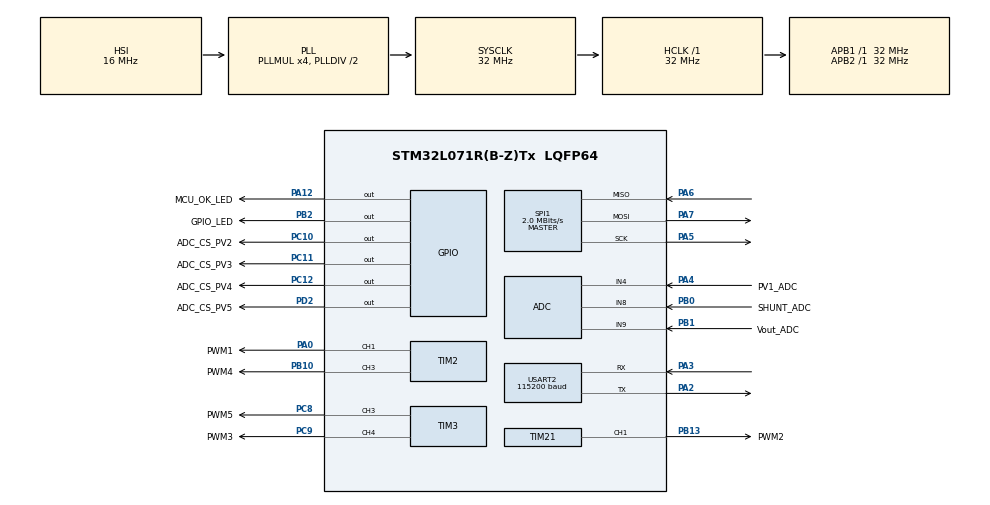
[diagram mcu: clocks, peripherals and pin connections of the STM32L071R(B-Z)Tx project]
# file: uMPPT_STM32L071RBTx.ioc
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ADC.ClockPrescaler=ADC_CLOCK_SYNC_PCLK_DIV4
ADC.ContinuousConvMode=DISABLE
ADC.DiscontinuousConvMode=DISABLE
ADC.EOCSelection=ADC_EOC_SEQ_CONV
ADC.LowPowerAutoPowerOff=DISABLE
ADC.LowPowerAutoWait=DISABLE
ADC.SamplingTime=ADC_SAMPLETIME_39CYCLES_5
ADC.ScanConvMode=ADC_SCAN_DIRECTION_FORWARD
Dma.Request0=USART2_RX
Dma.USART2_RX.0.Direction=DMA_PERIPH_TO_MEMORY
Dma.USART2_RX.0.Instance=DMA1_Channel6
Dma.USART2_RX.0.MemDataAlignment=DMA_MDATAALIGN_BYTE
Dma.USART2_RX.0.MemInc=DMA_MINC_ENABLE
Dma.USART2_RX.0.Mode=DMA_NORMAL
Dma.USART2_RX.0.PeriphDataAlignment=DMA_PDATAALIGN_BYTE
Dma.USART2_RX.0.PeriphInc=DMA_PINC_DISABLE
Dma.USART2_RX.0.Priority=DMA_PRIORITY_LOW
Mcu.Family=STM32L0
Mcu.Name=STM32L071R(B-Z)Tx
Mcu.Package=LQFP64
NVIC.DMA1_Channel4_5_6_7_IRQn=true\:0\:0\:false\:false\:true\:false\:true\:true
NVIC.TIM6_IRQn=true\:0\:0\:false\:false\:true\:true\:true\:true
NVIC.USART2_IRQn=true\:0\:0\:false\:false\:true\:true\:true\:true
PA0.GPIO_Label=PWM1
PA0.GPIO_PuPd=GPIO_PULLDOWN
PA0.Signal=S_TIM2_CH1
PA12.GPIO_Label=MCU_OK_LED
PA12.Signal=GPIO_Output
PA13.Mode=Serial_Wire
PA13.Signal=SYS_SWDIO
PA14.Mode=Serial_Wire
PA14.Signal=SYS_SWCLK
PA2.Mode=Asynchronous
PA2.Signal=USART2_TX
PA3.Mode=Asynchronous
PA3.Signal=USART2_RX
PA4.GPIO_Label=PV1_ADC
PA4.Mode=IN4
PA4.Signal=ADC_IN4
PA5.Mode=Full_Duplex_Master
PA5.Signal=SPI1_SCK
PA6.Mode=Full_Duplex_Master
PA6.Signal=SPI1_MISO
PA7.Mode=Full_Duplex_Master
PA7.Signal=SPI1_MOSI
PB0.GPIO_Label=SHUNT_ADC
PB0.Mode=IN8
PB0.Signal=ADC_IN8
PB1.GPIO_Label=Vout_ADC
PB1.Mode=IN9
PB1.Signal=ADC_IN9
PB10.GPIO_Label=PWM4
PB10.GPIO_PuPd=GPIO_PULLDOWN
PB10.Signal=S_TIM2_CH3
PB13.GPIO_Label=PWM2
PB13.GPIO_PuPd=GPIO_PULLDOWN
PB13.Signal=S_TIM21_CH1
PB2.GPIO_Label=GPIO_LED
PB2.Signal=GPIO_Output
PC10.GPIO_Label=ADC_CS_PV2
PC10.Signal=GPIO_Output
PC11.GPIO_Label=ADC_CS_PV3
PC11.Signal=GPIO_Output
PC12.GPIO_Label=ADC_CS_PV4
PC12.Signal=GPIO_Output
PC8.GPIO_Label=PWM5
PC8.GPIO_PuPd=GPIO_PULLDOWN
PC8.Signal=S_TIM3_CH3
PC9.GPIO_Label=PWM3
PC9.GPIO_PuPd=GPIO_PULLDOWN
PC9.Signal=S_TIM3_CH4
PD2.GPIO_Label=ADC_CS_PV5
PD2.Signal=GPIO_Output
PH0-OSC_IN.Mode=HSE-External-Oscillator
PH0-OSC_IN.Signal=RCC_OSC_IN
PH1-OSC_OUT.Mode=HSE-External-Oscillator
PH1-OSC_OUT.Signal=RCC_OSC_OUT
ProjectManager.HeapSize=0x200
ProjectManager.StackSize=0x400
ProjectManager.TargetToolchain=STM32CubeIDE
RCC.AHBFreq_Value=32000000
RCC.APB1Freq_Value=32000000
RCC.APB1TimFreq_Value=32000000
RCC.APB2Freq_Value=32000000
RCC.APB2TimFreq_Value=32000000
RCC.HCLKFreq_Value=32000000
RCC.HSE_VALUE=8000000
RCC.HSI16_VALUE=16000000
RCC.HSI_VALUE=16000000
RCC.LSE_VALUE=32768
RCC.MSIClockRange=RCC_MSIRANGE_6
RCC.MSI_VALUE=4194000
RCC.PLLMUL=RCC_PLLMUL_4
RCC.SYSCLKFreq_VALUE=32000000
RCC.SYSCLKSource=RCC_SYSCLKSOURCE_PLLCLK
RCC.VCOOutputFreq_Value=64000000
SH.S_TIM21_CH1.0=TIM21_CH1,PWM Generation1 CH1
SH.S_TIM2_CH1.0=TIM2_CH1,PWM Generation1 CH1
SH.S_TIM2_CH3.0=TIM2_CH3,PWM Generation3 CH3
SH.S_TIM3_CH3.0=TIM3_CH3,PWM Generation3 CH3
SH.S_TIM3_CH4.0=TIM3_CH4,PWM Generation4 CH4
SPI1.BaudRatePrescaler=SPI_BAUDRATEPRESCALER_16
SPI1.CLKPolarity=SPI_POLARITY_HIGH
SPI1.CalculateBaudRate=2.0 MBits/s
SPI1.DataSize=SPI_DATASIZE_16BIT
SPI1.Direction=SPI_DIRECTION_2LINES
SPI1.Mode=SPI_MODE_MASTER
SPI1.VirtualType=VM_MASTER
TIM2.Channel-PWM\ Generation1\ CH1=TIM_CHANNEL_1
TIM2.Channel-PWM\ Generation3\ CH3=TIM_CHANNEL_3
TIM2.OCPolarity_1=TIM_OCPOLARITY_HIGH
TIM2.OCPolarity_3=TIM_OCPOLARITY_HIGH
TIM2.Pulse-PWM\ Generation1\ CH1=10000
TIM2.Pulse-PWM\ Generation3\ CH3=50000
TIM21.Channel-PWM\ Generation1\ CH1=TIM_CHANNEL_1
TIM21.OCPolarity_1=TIM_OCPOLARITY_HIGH
TIM21.Pulse-PWM\ Generation1\ CH1=26793
TIM3.Channel-PWM\ Generation3\ CH3=TIM_CHANNEL_3
TIM3.Channel-PWM\ Generation4\ CH4=TIM_CHANNEL_4
TIM3.OCPolarity_3=TIM_OCPOLARITY_HIGH
TIM3.OCPolarity_4=TIM_OCPOLARITY_HIGH
TIM3.Pulse-PWM\ Generation3\ CH3=20000
TIM3.Pulse-PWM\ Generation4\ CH4=40000
TIM6.AutoReloadPreload=TIM_AUTORELOAD_PRELOAD_DISABLE
TIM6.Period=999
TIM6.Prescaler=15999
USART2.BaudRate=115200
USART2.VirtualMode-Asynchronous=VM_ASYNC
VP_TIM2_VS_ClockSourceINT.Mode=Internal
VP_TIM3_VS_ClockSourceINT.Mode=Internal
VP_TIM6_VS_ClockSourceINT.Mode=Enable_Timer
board=custom

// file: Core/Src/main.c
/* USER CODE BEGIN Header */
/**
  ******************************************************************************
  * @file           : main.c
  * @brief          : Main program body
  ******************************************************************************
  * @attention
  *
  * <h2><center>&copy; Copyright (c) 2022 STMicroelectronics.
  * All rights reserved.</center></h2>
  *
  * This software component is licensed by ST under BSD 3-Clause license,
  * the "License"; You may not use this file except in compliance with the
  * License. You may obtain a copy of the License at:
  *                        opensource.org/licenses/BSD-3-Clause
  *
  ******************************************************************************
  */
/* USER CODE END Header */
#include "main.h"

/* USER CODE BEGIN Includes */
#include "uMPPT_STM32L071RBTx.h"
/* USER CODE END Includes */

 ADC_HandleTypeDef hadc;

SPI_HandleTypeDef hspi1;

TIM_HandleTypeDef htim2;
TIM_HandleTypeDef htim3;
TIM_HandleTypeDef htim6;
TIM_HandleTypeDef htim21;

UART_HandleTypeDef huart2;
DMA_HandleTypeDef hdma_usart2_rx;

/* USER CODE BEGIN PV */

//----- VARIABLE INIT -----//
//--- ADC VARIABLES ---//
ADC_ChannelConfTypeDef sConfig_ADC;
uint32_t ADC_CH_list[3] = {ADC_CHANNEL_4, ADC_CHANNEL_9, ADC_CHANNEL_8}; //ADC CH of CH1, output voltage and current

//--- PWM VARIABLES ---//
uint32_t PWM_CHANNEL_list[5] = {TIM_CHANNEL_1, TIM_CHANNEL_1, TIM_CHANNEL_4, TIM_CHANNEL_3, TIM_CHANNEL_3};
TIM_HandleTypeDef *PWM_TIM_list[5] = {&htim2, &htim21, &htim3, &htim2, &htim3};

//--- UART VARIABLES ---//
char UART2_rxBuffer[16] = {0};

//Commands set for dev program
char DSBL[6] = "DSBL::";
char NFRE[6] = "NFRE::";
char RFRE[6] = "RFRE::";
char NDUT[6] = "NDUT::";
char RDUT[6] = "RDUT::";
char NPHA[6] = "NPHA::";
char VINP[6] = "VINP::";
char VOUT[6] = "VOUT::";
char IOUT[6] = "IOUT::";
char IINP[6] = "IINP::";
char MPPV[6] = "MPPV::";
char MPPI[6] = "MPPI::";

char uMPPT_ID[1] = {0};
char command[6] = {0};
char value[7] = {0};
char message[16] = {0};
char uMPPT_ID_char[1] = {0};
char ADC_value[7] = {0};

//--- EN PINS VARIABLES ---//
uint32_t CS_Pins_list[4] = {ADC_CS_PV2_Pin, ADC_CS_PV3_Pin,  ADC_CS_PV4_Pin,ADC_CS_PV5_Pin};
GPIO_TypeDef *CS_Ports_list[4] = {GPIOC, GPIOC, GPIOC, GPIOD};

//--- OTHER VARIABLES ---//
uint16_t MCU_OK_LED_PERIOD = 1000; //Blink period of the MCU_OK_LED (ms)
uint16_t MCU_OK_LED_ON_DURATION = 50; //Duration of the ON state of the MCU_OK_LED (ms)

struct uMPPT uMPPT_1;
struct uMPPT uMPPT_2;
struct uMPPT uMPPT_3;
struct uMPPT uMPPT_4;
struct uMPPT uMPPT_5;

struct uMPPT* uMPPT_list[5] = {&uMPPT_1, &uMPPT_2, &uMPPT_3, &uMPPT_4, &uMPPT_5};
struct board_param board;

/* USER CODE END PV */

void SystemClock_Config(void);
static void MX_GPIO_Init(void);
static void MX_ADC_Init(void);
static void MX_TIM2_Init(void);
static void MX_TIM3_Init(void);
static void MX_TIM21_Init(void);
static void MX_DMA_Init(void);
static void MX_TIM6_Init(void);
static void MX_USART2_UART_Init(void);
static void MX_SPI1_Init(void);

int main(void)
{

  /* MCU Configuration--------------------------------------------------------*/

  /* Reset of all peripherals, Initializes the Flash interface and the Systick. */
  HAL_Init();

  /* Configure the system clock */
  SystemClock_Config();

  /* Initialize all configured peripherals */
  MX_GPIO_Init();
  MX_ADC_Init();
  MX_TIM2_Init();
  MX_TIM3_Init();
  MX_TIM21_Init();
  MX_DMA_Init();
  MX_TIM6_Init();
  MX_USART2_UART_Init();
  MX_SPI1_Init();
  /* USER CODE BEGIN 2 */

  //Configure uMPPT

  board.CS_Pins = CS_Pins_list;
  board.CS_Ports = CS_Ports_list;
  board.MCU_OK_LED_TIM = &htim6;
  board.PWM_CHANNEL = PWM_CHANNEL_list;
  board.PWM_TIM = PWM_TIM_list;
  board.uMPPT_list = uMPPT_list;
  board.MCU_OK_LED_ON_Duration = 100;
  board.MCU_OK_LED_Period = 1000;
  board.ADC_CH = ADC_CH_list;
  board.ADC_config = &sConfig_ADC;
  board.hadc_handle = &hadc;
  board.huart_handle = &huart2;
  board.hspi_handle = &hspi1;

  config_uMPPT(&board);

//  //Enable LTC7060 gate drivers
//  uint16_t EN_reg_1 = 0;
//  uint16_t EN_reg_2 = 0;
//  for (int i = 0; i < NUM_UMPPT; i++){
//	if (i < 2){	EN_reg_1 |= board.EN_Pins[i];	}
//	else {	EN_reg_2 |= board.EN_Pins[i];	}
//  }
//  GPIOA->BSRR |= EN1_Pin | EN2_Pin;
//  GPIOB->BSRR = EN_reg_2;

  //UART (for dev program)
  //HAL_UART_Receive_DMA(&huart2, (uint8_t*) UART2_rxBuffer, 16);
  /* USER CODE END 2 */

  /* Infinite loop */
  /* USER CODE BEGIN WHILE */

	while (1){
	//	for (int i = 0; i < NUM_UMPPT; i++){
	//		update_MPP_HillClimb(&board, board.uMPPT_list[i]);
	//	}
	//	float raw_ADC;
		//char print_str[50];

	//	for (int i = 0; i < NUM_AVG_CURRENT; i++){
	//		raw_ADC += uMPPT_read_ADC(ADC_CH_list[6], &board); //Measure output current
	//	}

	//	raw_ADC /= NUM_AVG_CURRENT;
	//	raw_ADC = (((raw_ADC / 4095.0) * VDDA) - I_MEAS_OFFSET) / I_SENSE_AMP_RATIO / I_SHUNT_VALUE;
	//	sprintf(print_str, "Output current: %fA\n", raw_ADC);
	//	HAL_UART_Transmit(board.huart_handle, (uint8_t *) print_str, strlen(print_str), 10);

		//float adc_test = SPI_readADC(0, &board);
		//HAL_Delay(100);
		float adc_test2 = SPI_readADC(1, &board);
		HAL_Delay(100);
		//float adc_test3 = SPI_readADC(2, &board);
		//HAL_Delay(100);
		//sprintf(print_str, "Test Reading: %f\n", adc_test);
		//HAL_UART_Transmit(board.huart_handle, (uint8_t *) print_str, sizeof(print_str), 10);

		//HAL_Delay(DELAY_BT_MPPT/2);

    /* USER CODE END WHILE */

	  }
}

void SystemClock_Config(void)
{
  RCC_OscInitTypeDef RCC_OscInitStruct = {0};
  RCC_ClkInitTypeDef RCC_ClkInitStruct = {0};
  RCC_PeriphCLKInitTypeDef PeriphClkInit = {0};

  /** Configure the main internal regulator output voltage
  */
  __HAL_PWR_VOLTAGESCALING_CONFIG(PWR_REGULATOR_VOLTAGE_SCALE1);

  /** Initializes the RCC Oscillators according to the specified parameters
  * in the RCC_OscInitTypeDef structure.
  */
  RCC_OscInitStruct.OscillatorType = RCC_OSCILLATORTYPE_HSI;
  RCC_OscInitStruct.HSIState = RCC_HSI_ON;
  RCC_OscInitStruct.HSICalibrationValue = RCC_HSICALIBRATION_DEFAULT;
  RCC_OscInitStruct.PLL.PLLState = RCC_PLL_ON;
  RCC_OscInitStruct.PLL.PLLSource = RCC_PLLSOURCE_HSI;
  RCC_OscInitStruct.PLL.PLLMUL = RCC_PLLMUL_4;
  RCC_OscInitStruct.PLL.PLLDIV = RCC_PLLDIV_2;
  if (HAL_RCC_OscConfig(&RCC_OscInitStruct) != HAL_OK)
  {
    Error_Handler();
  }

  /** Initializes the CPU, AHB and APB buses clocks
  */
  RCC_ClkInitStruct.ClockType = RCC_CLOCKTYPE_HCLK|RCC_CLOCKTYPE_SYSCLK
                              |RCC_CLOCKTYPE_PCLK1|RCC_CLOCKTYPE_PCLK2;
  RCC_ClkInitStruct.SYSCLKSource = RCC_SYSCLKSOURCE_PLLCLK;
  RCC_ClkInitStruct.AHBCLKDivider = RCC_SYSCLK_DIV1;
  RCC_ClkInitStruct.APB1CLKDivider = RCC_HCLK_DIV1;
  RCC_ClkInitStruct.APB2CLKDivider = RCC_HCLK_DIV1;

  if (HAL_RCC_ClockConfig(&RCC_ClkInitStruct, FLASH_LATENCY_1) != HAL_OK)
  {
    Error_Handler();
  }
  PeriphClkInit.PeriphClockSelection = RCC_PERIPHCLK_USART2;
  PeriphClkInit.Usart2ClockSelection = RCC_USART2CLKSOURCE_PCLK1;
  if (HAL_RCCEx_PeriphCLKConfig(&PeriphClkInit) != HAL_OK)
  {
    Error_Handler();
  }
}

static void MX_ADC_Init(void)
{

  ADC_ChannelConfTypeDef sConfig = {0};

  /** Configure the global features of the ADC (Clock, Resolution, Data Alignment and number of conversion)
  */
  hadc.Instance = ADC1;
  hadc.Init.OversamplingMode = DISABLE;
  hadc.Init.ClockPrescaler = ADC_CLOCK_SYNC_PCLK_DIV4;
  hadc.Init.Resolution = ADC_RESOLUTION_12B;
  hadc.Init.SamplingTime = ADC_SAMPLETIME_39CYCLES_5;
  hadc.Init.ScanConvMode = ADC_SCAN_DIRECTION_FORWARD;
  hadc.Init.DataAlign = ADC_DATAALIGN_RIGHT;
  hadc.Init.ContinuousConvMode = DISABLE;
  hadc.Init.DiscontinuousConvMode = DISABLE;
  hadc.Init.ExternalTrigConvEdge = ADC_EXTERNALTRIGCONVEDGE_NONE;
  hadc.Init.ExternalTrigConv = ADC_SOFTWARE_START;
  hadc.Init.DMAContinuousRequests = DISABLE;
  hadc.Init.EOCSelection = ADC_EOC_SEQ_CONV;
  hadc.Init.Overrun = ADC_OVR_DATA_PRESERVED;
  hadc.Init.LowPowerAutoWait = DISABLE;
  hadc.Init.LowPowerFrequencyMode = DISABLE;
  hadc.Init.LowPowerAutoPowerOff = DISABLE;
  if (HAL_ADC_Init(&hadc) != HAL_OK)
  {
    Error_Handler();
  }

  /** Configure for the selected ADC regular channel to be converted.
  */
  sConfig.Channel = ADC_CHANNEL_4;
  sConfig.Rank = ADC_RANK_CHANNEL_NUMBER;
  if (HAL_ADC_ConfigChannel(&hadc, &sConfig) != HAL_OK)
  {
    Error_Handler();
  }

  /** Configure for the selected ADC regular channel to be converted.
  */
  sConfig.Channel = ADC_CHANNEL_8;
  if (HAL_ADC_ConfigChannel(&hadc, &sConfig) != HAL_OK)
  {
    Error_Handler();
  }

  /** Configure for the selected ADC regular channel to be converted.
  */
  sConfig.Channel = ADC_CHANNEL_9;
  if (HAL_ADC_ConfigChannel(&hadc, &sConfig) != HAL_OK)
  {
    Error_Handler();
  }

}

static void MX_SPI1_Init(void)
{

  /* SPI1 parameter configuration*/
  hspi1.Instance = SPI1;
  hspi1.Init.Mode = SPI_MODE_MASTER;
  hspi1.Init.Direction = SPI_DIRECTION_2LINES;
  hspi1.Init.DataSize = SPI_DATASIZE_16BIT;
  hspi1.Init.CLKPolarity = SPI_POLARITY_HIGH;
  hspi1.Init.CLKPhase = SPI_PHASE_1EDGE;
  hspi1.Init.NSS = SPI_NSS_SOFT;
  hspi1.Init.BaudRatePrescaler = SPI_BAUDRATEPRESCALER_16;
  hspi1.Init.FirstBit = SPI_FIRSTBIT_MSB;
  hspi1.Init.TIMode = SPI_TIMODE_DISABLE;
  hspi1.Init.CRCCalculation = SPI_CRCCALCULATION_DISABLE;
  hspi1.Init.CRCPolynomial = 7;
  if (HAL_SPI_Init(&hspi1) != HAL_OK)
  {
    Error_Handler();
  }

}

static void MX_TIM2_Init(void)
{

  TIM_ClockConfigTypeDef sClockSourceConfig = {0};
  TIM_MasterConfigTypeDef sMasterConfig = {0};
  TIM_OC_InitTypeDef sConfigOC = {0};

  htim2.Instance = TIM2;
  htim2.Init.Prescaler = 0;
  htim2.Init.CounterMode = TIM_COUNTERMODE_UP;
  htim2.Init.Period = 65535;
  htim2.Init.ClockDivision = TIM_CLOCKDIVISION_DIV1;
  htim2.Init.AutoReloadPreload = TIM_AUTORELOAD_PRELOAD_DISABLE;
  if (HAL_TIM_Base_Init(&htim2) != HAL_OK)
  {
    Error_Handler();
  }
  sClockSourceConfig.ClockSource = TIM_CLOCKSOURCE_INTERNAL;
  if (HAL_TIM_ConfigClockSource(&htim2, &sClockSourceConfig) != HAL_OK)
  {
    Error_Handler();
  }
  if (HAL_TIM_PWM_Init(&htim2) != HAL_OK)
  {
    Error_Handler();
  }
  sMasterConfig.MasterOutputTrigger = TIM_TRGO_RESET;
  sMasterConfig.MasterSlaveMode = TIM_MASTERSLAVEMODE_DISABLE;
  if (HAL_TIMEx_MasterConfigSynchronization(&htim2, &sMasterConfig) != HAL_OK)
  {
    Error_Handler();
  }
  sConfigOC.OCMode = TIM_OCMODE_PWM1;
  sConfigOC.Pulse = 10000;
  sConfigOC.OCPolarity = TIM_OCPOLARITY_HIGH;
  sConfigOC.OCFastMode = TIM_OCFAST_DISABLE;
  if (HAL_TIM_PWM_ConfigChannel(&htim2, &sConfigOC, TIM_CHANNEL_1) != HAL_OK)
  {
    Error_Handler();
  }
  sConfigOC.Pulse = 50000;
  if (HAL_TIM_PWM_ConfigChannel(&htim2, &sConfigOC, TIM_CHANNEL_3) != HAL_OK)
  {
    Error_Handler();
  }
  HAL_TIM_MspPostInit(&htim2);

}

static void MX_TIM3_Init(void)
{

  TIM_ClockConfigTypeDef sClockSourceConfig = {0};
  TIM_MasterConfigTypeDef sMasterConfig = {0};
  TIM_OC_InitTypeDef sConfigOC = {0};

  htim3.Instance = TIM3;
  htim3.Init.Prescaler = 0;
  htim3.Init.CounterMode = TIM_COUNTERMODE_UP;
  htim3.Init.Period = 65535;
  htim3.Init.ClockDivision = TIM_CLOCKDIVISION_DIV1;
  htim3.Init.AutoReloadPreload = TIM_AUTORELOAD_PRELOAD_DISABLE;
  if (HAL_TIM_Base_Init(&htim3) != HAL_OK)
  {
    Error_Handler();
  }
  sClockSourceConfig.ClockSource = TIM_CLOCKSOURCE_INTERNAL;
  if (HAL_TIM_ConfigClockSource(&htim3, &sClockSourceConfig) != HAL_OK)
  {
    Error_Handler();
  }
  if (HAL_TIM_PWM_Init(&htim3) != HAL_OK)
  {
    Error_Handler();
  }
  sMasterConfig.MasterOutputTrigger = TIM_TRGO_RESET;
  sMasterConfig.MasterSlaveMode = TIM_MASTERSLAVEMODE_DISABLE;
  if (HAL_TIMEx_MasterConfigSynchronization(&htim3, &sMasterConfig) != HAL_OK)
  {
    Error_Handler();
  }
  sConfigOC.OCMode = TIM_OCMODE_PWM1;
  sConfigOC.Pulse = 20000;
  sConfigOC.OCPolarity = TIM_OCPOLARITY_HIGH;
  sConfigOC.OCFastMode = TIM_OCFAST_DISABLE;
  if (HAL_TIM_PWM_ConfigChannel(&htim3, &sConfigOC, TIM_CHANNEL_3) != HAL_OK)
  {
    Error_Handler();
  }
  sConfigOC.Pulse = 40000;
  if (HAL_TIM_PWM_ConfigChannel(&htim3, &sConfigOC, TIM_CHANNEL_4) != HAL_OK)
  {
    Error_Handler();
  }
  if (HAL_TIMEx_RemapConfig(&htim3, TIM3_TI4_GPIOC9_AF2) != HAL_OK)
  {
    Error_Handler();
  }
  HAL_TIM_MspPostInit(&htim3);

}

static void MX_TIM6_Init(void)
{

  TIM_MasterConfigTypeDef sMasterConfig = {0};

  htim6.Instance = TIM6;
  htim6.Init.Prescaler = 15999;
  htim6.Init.CounterMode = TIM_COUNTERMODE_UP;
  htim6.Init.Period = 999;
  htim6.Init.AutoReloadPreload = TIM_AUTORELOAD_PRELOAD_DISABLE;
  if (HAL_TIM_Base_Init(&htim6) != HAL_OK)
  {
    Error_Handler();
  }
  sMasterConfig.MasterOutputTrigger = TIM_TRGO_RESET;
  sMasterConfig.MasterSlaveMode = TIM_MASTERSLAVEMODE_DISABLE;
  if (HAL_TIMEx_MasterConfigSynchronization(&htim6, &sMasterConfig) != HAL_OK)
  {
    Error_Handler();
  }

}

static void MX_TIM21_Init(void)
{

  TIM_MasterConfigTypeDef sMasterConfig = {0};
  TIM_OC_InitTypeDef sConfigOC = {0};

  htim21.Instance = TIM21;
  htim21.Init.Prescaler = 0;
  htim21.Init.CounterMode = TIM_COUNTERMODE_UP;
  htim21.Init.Period = 65535;
  htim21.Init.ClockDivision = TIM_CLOCKDIVISION_DIV1;
  htim21.Init.AutoReloadPreload = TIM_AUTORELOAD_PRELOAD_DISABLE;
  if (HAL_TIM_PWM_Init(&htim21) != HAL_OK)
  {
    Error_Handler();
  }
  sMasterConfig.MasterOutputTrigger = TIM_TRGO_RESET;
  sMasterConfig.MasterSlaveMode = TIM_MASTERSLAVEMODE_DISABLE;
  if (HAL_TIMEx_MasterConfigSynchronization(&htim21, &sMasterConfig) != HAL_OK)
  {
    Error_Handler();
  }
  sConfigOC.OCMode = TIM_OCMODE_PWM1;
  sConfigOC.Pulse = 26793;
  sConfigOC.OCPolarity = TIM_OCPOLARITY_HIGH;
  sConfigOC.OCFastMode = TIM_OCFAST_DISABLE;
  if (HAL_TIM_PWM_ConfigChannel(&htim21, &sConfigOC, TIM_CHANNEL_1) != HAL_OK)
  {
    Error_Handler();
  }
  HAL_TIM_MspPostInit(&htim21);

}

static void MX_USART2_UART_Init(void)
{

  huart2.Instance = USART2;
  huart2.Init.BaudRate = 115200;
  huart2.Init.WordLength = UART_WORDLENGTH_8B;
  huart2.Init.StopBits = UART_STOPBITS_1;
  huart2.Init.Parity = UART_PARITY_NONE;
  huart2.Init.Mode = UART_MODE_TX_RX;
  huart2.Init.HwFlowCtl = UART_HWCONTROL_NONE;
  huart2.Init.OverSampling = UART_OVERSAMPLING_16;
  huart2.Init.OneBitSampling = UART_ONE_BIT_SAMPLE_DISABLE;
  huart2.AdvancedInit.AdvFeatureInit = UART_ADVFEATURE_NO_INIT;
  if (HAL_UART_Init(&huart2) != HAL_OK)
  {
    Error_Handler();
  }

}

static void MX_DMA_Init(void)
{

  /* DMA controller clock enable */
  __HAL_RCC_DMA1_CLK_ENABLE();

  /* DMA interrupt init */
  /* DMA1_Channel4_5_6_7_IRQn interrupt configuration */
  HAL_NVIC_SetPriority(DMA1_Channel4_5_6_7_IRQn, 0, 0);
  HAL_NVIC_EnableIRQ(DMA1_Channel4_5_6_7_IRQn);

}

static void MX_GPIO_Init(void)
{
  GPIO_InitTypeDef GPIO_InitStruct = {0};

  /* GPIO Ports Clock Enable */
  __HAL_RCC_GPIOC_CLK_ENABLE();
  __HAL_RCC_GPIOH_CLK_ENABLE();
  __HAL_RCC_GPIOA_CLK_ENABLE();
  __HAL_RCC_GPIOB_CLK_ENABLE();
  __HAL_RCC_GPIOD_CLK_ENABLE();

  /*Configure GPIO pin Output Level */
  HAL_GPIO_WritePin(GPIO_LED_GPIO_Port, GPIO_LED_Pin, GPIO_PIN_RESET);

  /*Configure GPIO pin Output Level */
  HAL_GPIO_WritePin(MCU_OK_LED_GPIO_Port, MCU_OK_LED_Pin, GPIO_PIN_RESET);

  /*Configure GPIO pin Output Level */
  HAL_GPIO_WritePin(GPIOC, ADC_CS_PV2_Pin|ADC_CS_PV3_Pin|ADC_CS_PV4_Pin, GPIO_PIN_RESET);

  /*Configure GPIO pin Output Level */
  HAL_GPIO_WritePin(ADC_CS_PV5_GPIO_Port, ADC_CS_PV5_Pin, GPIO_PIN_RESET);

  /*Configure GPIO pins : PC13 PC14 PC15 PC0
                           PC1 PC2 PC3 PC4
                           PC5 PC6 PC7 */
  GPIO_InitStruct.Pin = GPIO_PIN_13|GPIO_PIN_14|GPIO_PIN_15|GPIO_PIN_0
                          |GPIO_PIN_1|GPIO_PIN_2|GPIO_PIN_3|GPIO_PIN_4
                          |GPIO_PIN_5|GPIO_PIN_6|GPIO_PIN_7;
  GPIO_InitStruct.Mode = GPIO_MODE_ANALOG;
  GPIO_InitStruct.Pull = GPIO_NOPULL;
  HAL_GPIO_Init(GPIOC, &GPIO_InitStruct);

  /*Configure GPIO pins : PA1 PA8 PA9 PA10
                           PA11 PA15 */
  GPIO_InitStruct.Pin = GPIO_PIN_1|GPIO_PIN_8|GPIO_PIN_9|GPIO_PIN_10
                          |GPIO_PIN_11|GPIO_PIN_15;
  GPIO_InitStruct.Mode = GPIO_MODE_ANALOG;
  GPIO_InitStruct.Pull = GPIO_NOPULL;
  HAL_GPIO_Init(GPIOA, &GPIO_InitStruct);

  /*Configure GPIO pin : GPIO_LED_Pin */
  GPIO_InitStruct.Pin = GPIO_LED_Pin;
  GPIO_InitStruct.Mode = GPIO_MODE_OUTPUT_PP;
  GPIO_InitStruct.Pull = GPIO_NOPULL;
  GPIO_InitStruct.Speed = GPIO_SPEED_FREQ_LOW;
  HAL_GPIO_Init(GPIO_LED_GPIO_Port, &GPIO_InitStruct);

  /*Configure GPIO pins : PB11 PB12 PB14 PB15
                           PB3 PB4 PB5 PB6
                           PB7 PB8 PB9 */
  GPIO_InitStruct.Pin = GPIO_PIN_11|GPIO_PIN_12|GPIO_PIN_14|GPIO_PIN_15
                          |GPIO_PIN_3|GPIO_PIN_4|GPIO_PIN_5|GPIO_PIN_6
                          |GPIO_PIN_7|GPIO_PIN_8|GPIO_PIN_9;
  GPIO_InitStruct.Mode = GPIO_MODE_ANALOG;
  GPIO_InitStruct.Pull = GPIO_NOPULL;
  HAL_GPIO_Init(GPIOB, &GPIO_InitStruct);

  /*Configure GPIO pin : MCU_OK_LED_Pin */
  GPIO_InitStruct.Pin = MCU_OK_LED_Pin;
  GPIO_InitStruct.Mode = GPIO_MODE_OUTPUT_PP;
  GPIO_InitStruct.Pull = GPIO_NOPULL;
  GPIO_InitStruct.Speed = GPIO_SPEED_FREQ_LOW;
  HAL_GPIO_Init(MCU_OK_LED_GPIO_Port, &GPIO_InitStruct);

  /*Configure GPIO pins : ADC_CS_PV2_Pin ADC_CS_PV3_Pin ADC_CS_PV4_Pin */
  GPIO_InitStruct.Pin = ADC_CS_PV2_Pin|ADC_CS_PV3_Pin|ADC_CS_PV4_Pin;
  GPIO_InitStruct.Mode = GPIO_MODE_OUTPUT_PP;
  GPIO_InitStruct.Pull = GPIO_NOPULL;
  GPIO_InitStruct.Speed = GPIO_SPEED_FREQ_LOW;
  HAL_GPIO_Init(GPIOC, &GPIO_InitStruct);

  /*Configure GPIO pin : ADC_CS_PV5_Pin */
  GPIO_InitStruct.Pin = ADC_CS_PV5_Pin;
  GPIO_InitStruct.Mode = GPIO_MODE_OUTPUT_PP;
  GPIO_InitStruct.Pull = GPIO_NOPULL;
  GPIO_InitStruct.Speed = GPIO_SPEED_FREQ_LOW;
  HAL_GPIO_Init(ADC_CS_PV5_GPIO_Port, &GPIO_InitStruct);

}

/* USER CODE BEGIN 4 */

void HAL_TIM_PeriodElapsedCallback(TIM_HandleTypeDef *htim){
	/*! \brief Check which version of the timer triggered this callback and update LED
	 *
	 *  Input: None
	 *  Return: Void
	 */

	if (htim == &htim6){
	    HAL_GPIO_TogglePin(GPIOA, MCU_OK_LED_Pin);
	}
}

//void HAL_GPIO_EXTI_Callback(uint16_t GPIO_Pin){ //Fault input interrupt function
//    if(GPIO_Pin == FLT1_Pin || GPIO_Pin == FLT2_Pin || GPIO_Pin == FLT3_Pin || GPIO_Pin == FLT4_Pin || GPIO_Pin == FLT5_Pin){ // If The INT Source Is one of the FLT lines from the LTC7060
//    	MCU_OK_LED_PERIOD = 200; //Increase MCU_OK_LED blink frequency to 5Hz to signal that there is a problem
//    	htim6.Instance->ARR = 200; //Increase MCU_OK_LED blink frequency to 5Hz to signal that there is a problem
//
//    	//Turn off PWM and disable LTC7060
//    	for (int i = 0; i < NUM_UMPPT; i++){
//    		HAL_GPIO_WritePin(EN_Ports_list[i], EN_Pins_list[i], GPIO_PIN_RESET);
//    		HAL_TIM_PWM_Stop(PWM_TIM_list[i], PWM_CHANNEL_list[i]);
//    	}
//    }
//}

void slice_str(const char * str, uint8_t * buffer, size_t start, size_t end)
{
  size_t j = 0;
  for ( size_t i = start; i <= end; ++i ) {
    buffer[j++] = str[i];
  }
  buffer[j] = 0;
}

void HAL_UART_RxCpltCallback(UART_HandleTypeDef *huart)
{
    //Echo
	HAL_UART_Transmit(&huart2, UART2_rxBuffer, 16, 100);
	HAL_UART_Transmit(&huart2, "\r\n", 2, 100);
	HAL_UART_Receive_DMA(&huart2, UART2_rxBuffer, 16);

	//Extract parameters from command
	slice_str(UART2_rxBuffer, command, 0, 5);
	slice_str(UART2_rxBuffer, uMPPT_ID, 6, 6);
	slice_str(UART2_rxBuffer, value, 9, 15);

	uMPPT_ID[0] = atoi(uMPPT_ID);

	if (strncmp(command, DSBL, 6) == 0){ //DISABLE

	} else if (strncmp(command, NFRE, 6) == 0){ //NEW FREQUENCY
		float new_freq = atof(value);
		updatePWMFreq(uMPPT_list[(int) (uMPPT_ID[0] - 1)], &board, new_freq);

	} else if (strncmp(command, RFRE, 6) == 0){ //READ FREQUENCY
		sprintf(value, "%f", uMPPT_list[(int) (uMPPT_ID[0] - 1)]->pwm_frequency);
		itoa(uMPPT_ID[0], uMPPT_ID_char, 10);

		//Assembling message
		for(int i = 0; i < 16; i++){
			if (i < 6){message[i] = RFRE[i];}
			else if (i == 6){message[i] = uMPPT_ID_char[0];}
			else if (i == 7 || i == 8){message[i] = ',';}
			else if (i > 7){message[i] = value[i-9];}}

		HAL_UART_Transmit(&huart2, (uint8_t*) message, 16, 100);

	} else if (strncmp(command, NDUT, 6) == 0){ //NEW DUTY CYCLE
		float new_duty_cycle = atof(value);
		updatePWMDutyCycle(uMPPT_list[(int) (uMPPT_ID[0] - 1)], &board, new_duty_cycle);

	} else if (strncmp(command, RDUT, 6) == 0){ //READ DUTY CYCLE
		sprintf(value, "%f", uMPPT_list[(int) (uMPPT_ID[0] - 1)]->pwm_duty_cycle);
		itoa(uMPPT_ID[0], uMPPT_ID_char, 10);

		//Assembling message
		for(int i = 0; i < 16; i++){
			if (i < 6){message[i] = RDUT[i];}
			else if (i == 6){message[i] = uMPPT_ID_char[0];}
			else if (i == 7 || i == 8){message[i] = ',';}
			else if (i > 7){message[i] = value[i-9];}}

		HAL_UART_Transmit(&huart2, (uint8_t*) message, 16, 100);

	} else if (strncmp(command, NPHA, 6) == 0){ //NEW PWM PHASE
		float new_phase = atof(value);
		updatePWMPhaseOffset(uMPPT_list[(int) (uMPPT_ID[0] - 1)], &board, new_phase/360.0);

	} else if (strncmp(command, VINP, 6) == 0){ //READ INPUT VOLTAGE
		sprintf(ADC_value, "%f", uMPPT_list[(int) (uMPPT_ID[0] - 1)]->input_voltage);
		itoa(uMPPT_ID[0], uMPPT_ID_char, 10);

		//Assembling message
		for(int i = 0; i < 16; i++){
			if (i < 6){message[i] = VINP[i];}
			else if (i == 6){message[i] = uMPPT_ID_char[0];}
			else if (i == 7 || i == 8){message[i] = ',';}
			else if (i > 7){message[i] = ADC_value[i-9];}}

		HAL_UART_Transmit(&huart2, (uint8_t*) message, 16, 100);

	} else if (strncmp(command, VOUT, 6) == 0){ //READ OUTPUT VOLTAGE
		sprintf(ADC_value, "%f", board.V_Out);
		itoa(uMPPT_ID[0], uMPPT_ID_char, 10);

		//Assembling message
		for(int i = 0; i < 16; i++){
			if (i < 6){message[i] = VOUT[i];}
			else if (i == 6){message[i] = uMPPT_ID_char[0];}
			else if (i == 7 || i == 8){message[i] = ',';}
			else if (i > 7){message[i] = ADC_value[i-9];}}

		HAL_UART_Transmit(&huart2, (uint8_t*) message, 16, 100);

	} else if (strncmp(command, IOUT, 6) == 0){ //READ OUTPUT CURRENT
		sprintf(ADC_value, "%f", board.I_Out);
		itoa(uMPPT_ID[0], uMPPT_ID_char, 10);

		//Assembling message
		for(int i = 0; i < 16; i++){
			if (i < 6){message[i] = IOUT[i];}
			else if (i == 6){message[i] = uMPPT_ID_char[0];}
			else if (i == 7 || i == 8){message[i] = ',';}
			else if (i > 7){message[i] = ADC_value[i-9];}}

		HAL_UART_Transmit(&huart2, (uint8_t*) message, 16, 100);

	} else if (strncmp(command, IINP, 6) == 0){ //READ INPUT CURRENT
		sprintf(ADC_value, "%f", uMPPT_list[(int) (uMPPT_ID[0] - 1)]->calc_input_current);
		itoa(uMPPT_ID[0], uMPPT_ID_char, 10);

		//Assembling message
		for(int i = 0; i < 16; i++){
			if (i < 6){message[i] = IINP[i];}
			else if (i == 6){message[i] = uMPPT_ID_char[0];}
			else if (i == 7 || i == 8){message[i] = ',';}
			else if (i > 7){message[i] = ADC_value[i-9];}}

		HAL_UART_Transmit(&huart2, (uint8_t*) message, 16, 100);

	} else if (strncmp(command, MPPV, 6) == 0){ //READ MPP VOLTAGE
		sprintf(ADC_value, "%f", uMPPT_list[(int) (uMPPT_ID[0] - 1)]->MPP_voltage);
		itoa(uMPPT_ID[0], uMPPT_ID_char, 10);

		//Assembling message
		for(int i = 0; i < 16; i++){
			if (i < 6){message[i] = MPPV[i];}
			else if (i == 6){message[i] = uMPPT_ID_char[0];}
			else if (i == 7 || i == 8){message[i] = ',';}
			else if (i > 7){message[i] = ADC_value[i-9];}}

		HAL_UART_Transmit(&huart2, (uint8_t*) message, 16, 100);

	} else if (strncmp(command, MPPI, 6) == 0){ //READ MPP CURRENT
		sprintf(ADC_value, "%f", uMPPT_list[(int) (uMPPT_ID[0] - 1)]->MPP_current);
		itoa(uMPPT_ID[0], uMPPT_ID_char, 10);

		//Assembling message
		for(int i = 0; i < 16; i++){
			if (i < 6){message[i] = MPPI[i];}
			else if (i == 6){message[i] = uMPPT_ID_char[0];}
			else if (i == 7 || i == 8){message[i] = ',';}
			else if (i > 7){message[i] = ADC_value[i-9];}}

		HAL_UART_Transmit(&huart2, (uint8_t*) message, 16, 100);
	}
	return;
}

/* USER CODE END 4 */

void Error_Handler(void)
{
  __disable_irq();
  while (1)
  {
  }
}
